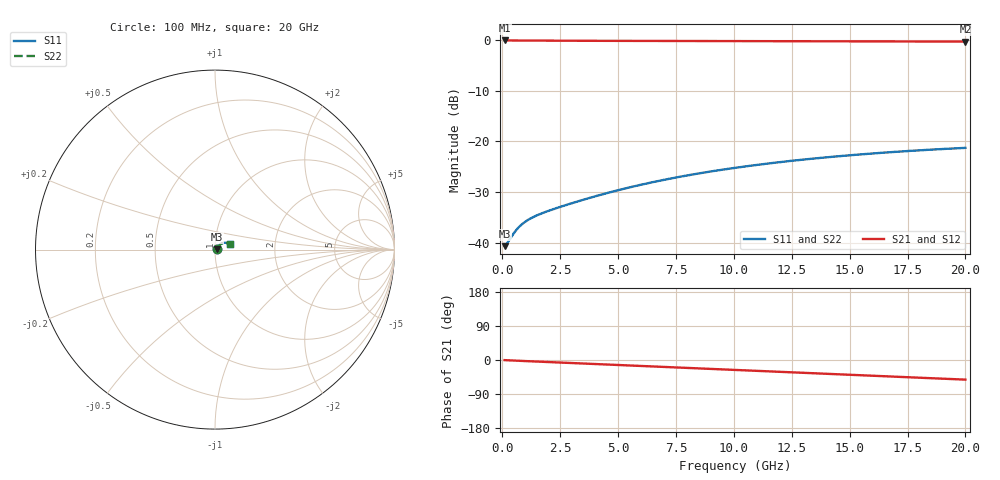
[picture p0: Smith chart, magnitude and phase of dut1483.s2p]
! Touchstone file exported from HFSS 2026.1.0
!  File:  C:/ffzhzh/LocalFiles/Ansys_Project_Files/temp_train_TMRDL_1483_1783167726_43440.aedt
!  Generated:  08:23:31 PM Jul  4, 2026
!  Design:  TMRDL
!  Project:  temp_train_TMRDL_1483_1783167726_43440
! Variables:
!  h_bsmrdl = 2um
!  h_ox = 20um
!  h_rdl = 5um
!  h_sub = 80um
!  h_tmrdl = 2.13um
!  h_tsv = 80um
!  h_via = 3um
!  l_bsmrdl = 300um
!  l_sub = 1329.19um
!  l_tmrdl = 929.19um
!  m_sub = 200um
!  pitch = 20.75um
!  r_tsv = 6um
!  s_tmrdl = 10um
!  w_bsmrdl = 18um
!  w_sub = 500um
!  w_tmrdl = 17.23um
!  x_tsv_center1 = 937.805um
!  x_tsv_center2 = 1255.805um
!  x_tsv_center3 = 2202.225um
!  x_tsv_center4 = 2520.225um
!  x_tsv_center5 = 3466.645um
!  x_tsv_center6 = 3784.645um
# GHz S MA R 50.000000
! Terminal data exported
! Port[1] = TM_RDL1_1_T1
! Port[2] = TM_RDL1_1_T2
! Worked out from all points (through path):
!   200 points, 100 MHz to 20 GHz, reference 50 ohm
!   highest |S21| = -0.08 dB at 100 MHz (marker M1); lowest = -0.3 dB at 20 GHz (marker M2)
!   group delay of S21, straight-line fit = 7.17 ps
!   lowest |S11| = -40.7 dB at 100 MHz (marker M3), VSWR 1.02, Z = 50.9 + j0.137 ohm
!   |S11| at or under -10 dB: start of sweep to end of sweep
!   |S22| runs from -40.7 to -21.3 dB; largest |S21 - S12| = 2.8e-15
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0.1  0.009217 8.4  0.9909 -0.3  0.9909 -0.3  0.009217 8.4
! Gamma 0 0 0 0
! Port Impedance 50 0 50 0
0.2  0.009773 15.6  0.9906 -0.6  0.9906 -0.6  0.009773 15.6
0.5  0.01239 27.3  0.9891 -1.5  0.9891 -1.5  0.01239 27.3
0.7  0.01409 30.0  0.988 -2.1  0.988 -2.1  0.01409 30.0
0.9  0.01551 31.3  0.9871 -2.6  0.9871 -2.6  0.01551 31.3
1.1  0.01669 32.2  0.9863 -3.1  0.9863 -3.1  0.01669 32.2
1.4  0.01815 33.3  0.9855 -3.9  0.9855 -3.9  0.01815 33.3
1.9  0.02021 35.4  0.9846 -5.2  0.9846 -5.2  0.0202 35.4
2.6  0.0229 38.4  0.9838 -7.0  0.9838 -7.0  0.0229 38.4
3.5  0.02649 41.5  0.983 -9.3  0.983 -9.3  0.02649 41.5
4.3  0.02986 43.4  0.9824 -11.4  0.9824 -11.4  0.02985 43.4
5.1  0.03334 44.4  0.9817 -13.5  0.9817 -13.5  0.03332 44.4
5.9  0.03687 44.8  0.9811 -15.6  0.9811 -15.6  0.03685 44.8
6.8  0.04085 44.6  0.9802 -17.9  0.9802 -17.9  0.04082 44.6
8.4  0.04782 43.2  0.9786 -22.1  0.9786 -22.1  0.04778 43.2
10.1  0.05492 40.7  0.9768 -26.5  0.9768 -26.5  0.05487 40.8
11.7  0.06122 37.9  0.975 -30.6  0.975 -30.6  0.06115 37.9
13.4  0.06744 34.4  0.9729 -35.0  0.9729 -35.0  0.06735 34.4
15  0.0728 30.9  0.971 -39.1  0.971 -39.1  0.07269 31.0
16.7  0.07794 27.1  0.969 -43.4  0.969 -43.4  0.0778 27.2
18.3  0.08223 23.4  0.9671 -47.5  0.9671 -47.5  0.08206 23.5
20  0.08618 19.5  0.9653 -51.8  0.9653 -51.8  0.08598 19.6
